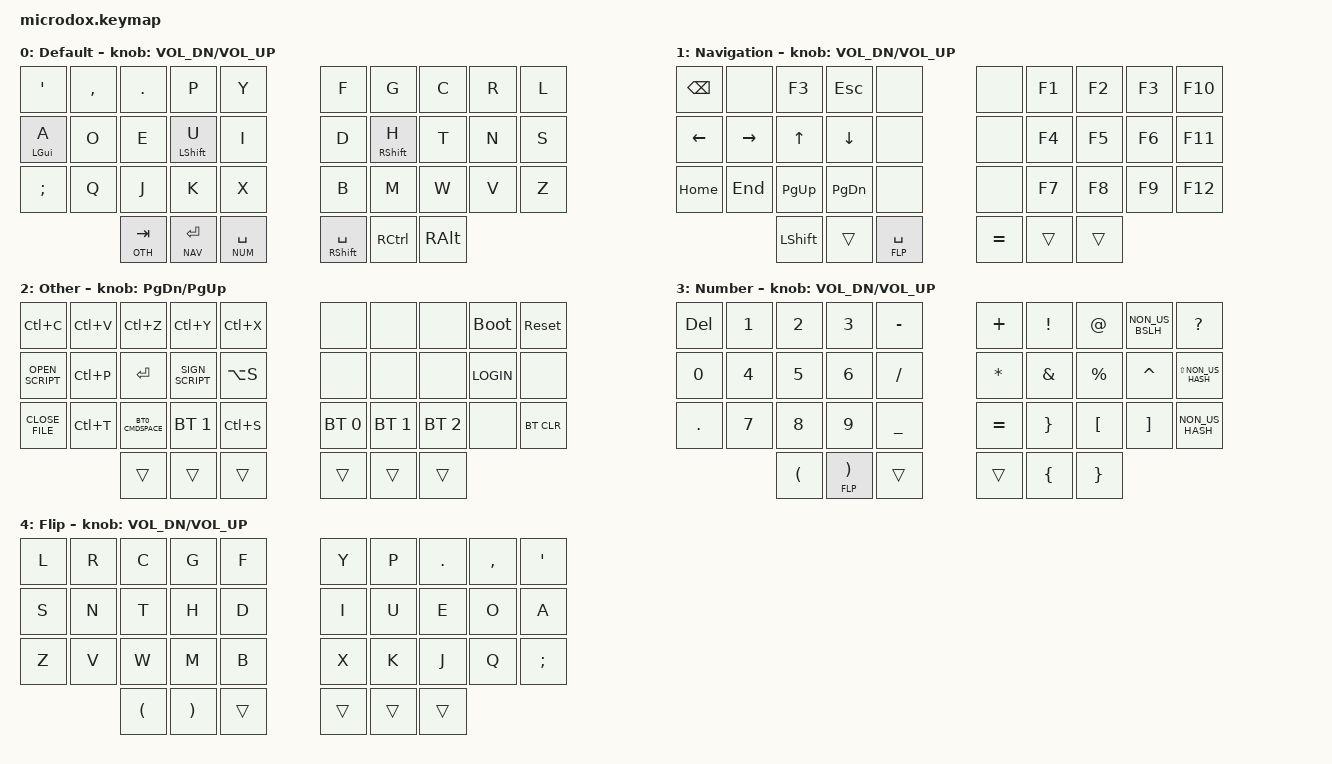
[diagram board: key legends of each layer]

#include <behaviors.dtsi>
#include <dt-bindings/zmk/keys.h>
#include <dt-bindings/zmk/bt.h>
#include <dt-bindings/zmk/outputs.h>
#include <dt-bindings/zmk/rgb.h>


/*          35 KEY MATRIX / LAYOUT MAPPING
// | 0  | 1  | 2  | 3  | 4  |       | 5  | 6  | 7  | 8  | 9 |
// | 10 | 11 | 12 | 13 | 14 |       | 15 | 16 | 17 | 18 | 19 |
// | 20 | 21 | 22 | 23 | 24 |       | 25 | 26 | 27 | 28 | 29 |
//            | 30 | 31 | 32 |     | 33 | 34 | 35 |
*/

#define KEYS_L 0 1 2 3 4 10 11 12 13 14 20 21 22 23 24  // left-hand keys
#define KEYS_R 5 6 7 8 9 15 16 17 18 19 25 26 27 28 29  // right-hand keys
#define THUMBS 30 31 32 33 34 35                        // thumb keys

#define DEFAULT 0
#define NAV     1
#define OTH     2
#define NUM     3
#define FLP     4

#define TAPPING_TERM 225  //   29/06/2024 increased from 150 to 225
#define TAPPING_TERM_SHIFT 150  //   reduced from 200 to 150 on 18/02/2024  
#define QUICK_TAP    100

#define COMBO(NAME, BINDINGS, KEYPOS, LAYERS) \
  combo_##NAME { \
    timeout-ms = <25>; \
    bindings = <BINDINGS>; \
    key-positions = <KEYPOS>; \
    layers = <LAYERS>; \
  };

  &caps_word {
    continue-list = <UNDERSCORE MINUS SPACE SINGLE_QUOTE DOUBLE_QUOTES EXCLAMATION QUESTION BACKSPACE EQUAL>;
};

&lt {
	flavor = "hold-preferred";
	tapping-term-ms = <TAPPING_TERM>;
};

&mt {
	flavor = "tap-preferred";
	tapping-term-ms = <TAPPING_TERM>;
};



/ {

    combos {
                compatible = "zmk,combos";

                /* Additional Nav */  
                COMBO(flip, &mo 4, 31 32, DEFAULT)               
        };
};

/ {
    macros {
      ZMK_MACRO(OPEN_SCRIPT,
        wait-ms = <200>;
        tap-ms = <40>;
        bindings 
                = <&macro_press &kp LALT>
                , <&macro_tap &kp F2>
                , <&macro_release &kp LALT>
                ;
                )	
      ZMK_MACRO(SIGN_SCRIPT,
        wait-ms = <0>;
        tap-ms = <0>;
        bindings 
                = <&macro_tap &kp PG_DN &kp PG_DN &kp PG_DN &kp PG_DN &kp PG_DN &kp PG_DN &kp UP &kp UP &kp UP &kp UP &kp UP &kp UP &kp UP>
                ;
                )
      ZMK_MACRO(LOGIN,
        wait-ms = <10>;
        tap-ms = <10>;
        bindings 
                = <&macro_tap &kp EXCL>
                , <&macro_press &kp LSHFT> 
                , <&macro_tap &kp S>
                , <&macro_release &kp LSHFT>
                , <&macro_tap &kp A &kp M &kp S &kp U &kp N &kp G &kp N0 &kp N1>
                ;
                )
      ZMK_MACRO(CLOSE_FILE,
        wait-ms = <30>;
        tap-ms = <40>;
        bindings 
                = <&macro_press &kp LCTRL>
                , <&macro_tap &kp F4>
                , <&macro_release &kp LCTRL>	
                , <&macro_tap &kp ENTER>
                ;
                )
ZMK_MACRO(BT0_CMDSPACE,
    wait-ms = <100>;
    tap-ms = <100>;
    bindings
        = <&bt BT_SEL 0>
        , <&macro_tap &kp F18>
        , <&macro_tap &kp F18>
        , <&macro_tap &kp N1 &kp N1 &kp N5 &kp N5>
        , <&macro_press &kp LGUI>
        , <&macro_tap &kp SPACE>
        , <&macro_release &kp LGUI>
        ;
)
       };
};

/ {

    behaviors {
        hm: homerow_mods {
            compatible = "zmk,behavior-hold-tap";
            label = "LAYER_MODS";
            #binding-cells = <2>;
            tapping-term-ms = <TAPPING_TERM>;
            quick_tap_ms = <0>;
            flavor = "tap-preferred";
            require-prior-idle-ms = <125>;
            bindings = <&kp>, <&kp>;
        };

        hml: homerow_mods_left {
            compatible = "zmk,behavior-hold-tap";
            label = "HOMEROW_MODS_LEFT";
            #binding-cells = <2>;
            tapping-term-ms = <TAPPING_TERM>;
            quick_tap_ms = <0>;
            flavor = "tap-preferred";
            require-prior-idle-ms = <125>;
            bindings = <&kp>, <&kp>;
            hold-trigger-key-positions = <KEYS_R THUMBS>;
            hold-trigger-on-release;             // delay positional check until key-release
        };

         hmr: homerow_mods_right {
            compatible = "zmk,behavior-hold-tap";
            label = "HOMEROW_MODS_RIGHT";
            #binding-cells = <2>;
            tapping-term-ms = <TAPPING_TERM>;
            quick_tap_ms = <0>;
            flavor = "tap-preferred";
            require-prior-idle-ms = <125>;
            bindings = <&kp>, <&kp>;
            hold-trigger-key-positions = <KEYS_L THUMBS>;
            hold-trigger-on-release;             // delay positional check until key-release
        };

        hs: homerow_shift {
            compatible = "zmk,behavior-hold-tap";
            label = "HOMEROW_SHIFT";
            #binding-cells = <2>;
            tapping-term-ms = <TAPPING_TERM_SHIFT>;
            quick_tap_ms = <0>;
            flavor = "tap-preferred";
	    require-prior-idle-ms = <40>;
            bindings = <&kp>, <&kp>;
        };
    };

   

    keymap {
        compatible = "zmk,keymap";

        default_layer {
            label = "Default";

            sensor-bindings = <&inc_dec_kp C_VOL_DN C_VOL_UP>;

            bindings = <
//╭────────────┬─────────────┬─────────────┬─────────────┬──────────╮       ╭────────────┬─────────────┬─────────────┬─────────────┬──────────╮
    &kp APOS     &kp COMMA     &kp DOT       &kp P         &kp Y              &kp F        &kp G         &kp C         &kp R        &kp L
//├────────────┼─────────────┼─────────────┼─────────────┼──────────┤       ├────────────┼─────────────┼─────────────┼─────────────┼──────────┤
    &hml LGUI A   &kp O          &kp E        &hs LSHFT U  &kp I              &kp D       &hs RSHFT H    &kp T         &kp N        &kp S
//├────────────┼─────────────┼─────────────┼─────────────┼──────────┤       ├────────────┼─────────────┼─────────────┼─────────────┼──────────┤
    &kp SEMI      &kp Q          &kp J        &kp K        &kp X              &kp B       &kp M          &kp W         &kp V        &kp Z
//╰────────────┴─────────────┼─────────────┼─────────────┼──────────╯       ╰────────────┼─────────────┼─────────────┼─────────────┼──────────╯
                 &lt OTH TAB  &lt NAV ENTER       &lt NUM SPACE                   &hs RSHFT SPACE         &kp RCTRL    &kp RALT
 //            ╰─────────────┴─────────────┴────────────────────────╯       ╰──────────────────────────┴─────────────┴─────────────╯
            >;
        };

        nav_layer {
            label = "Navigation";

            sensor-bindings = <&inc_dec_kp C_VOL_DN C_VOL_UP>;

            bindings = <
//╭────────────┬─────────────┬─────────────┬─────────────┬──────────╮       ╭────────────┬─────────────┬─────────────┬─────────────┬──────────╮
    &kp BSPC    &none         &kp F3        &kp ESC       &none                &none      &kp F1        &kp F2        &kp F3        &kp F10
//├────────────┼─────────────┼─────────────┼─────────────┼──────────┤       ├────────────┼─────────────┼─────────────┼─────────────┼──────────┤
    &kp LEFT    &kp RIGHT     &kp UP        &kp DOWN      &none                &none      &kp F4        &kp F5        &kp F6        &kp F11
//├────────────┼─────────────┼─────────────┼─────────────┼──────────┤       ├────────────┼─────────────┼─────────────┼─────────────┼──────────┤
    &kp HOME    &kp END       &kp PG_UP     &kp PG_DN     &none                &none      &kp F7        &kp F8        &kp F9        &kp F12
//╰────────────┴─────────────┼─────────────┼─────────────┼──────────╯       ╰────────────┼─────────────┼─────────────┼─────────────┼──────────╯
                 &kp LSHFT    &trans        &lt FLP SPACE                      &kp EQUAL                &trans        &trans
 //            ╰─────────────┴─────────────┴────────────────────────╯       ╰──────────────────────────┴─────────────┴─────────────╯
               >;
        };

        oth_layer {
            label = "Other";

            sensor-bindings = <&inc_dec_kp PG_DN PG_UP>;

            bindings = <
//╭────────────┬─────────────┬─────────────┬─────────────┬──────────╮       ╭────────────┬─────────────┬─────────────┬─────────────┬──────────╮
    &kp LC(C)      &kp LC(V)    &kp LC(Z)    &kp LC(Y)     &kp LC(X)          &none       &none         &none          &bootloader   &sys_reset 
//├────────────┼─────────────┼─────────────┼─────────────┼──────────┤       ├────────────┼─────────────┼─────────────┼─────────────┼──────────┤
    &OPEN_SCRIPT   &kp LC(P)    &kp ENTER    &SIGN_SCRIPT  &kp LA(S)          &none       &none         &none          &LOGIN        &none 
//├────────────┼─────────────┼─────────────┼─────────────┼──────────┤       ├────────────┼─────────────┼─────────────┼─────────────┼──────────┤
    &CLOSE_FILE    &kp LC(T)  &BT0_CMDSPACE  &bt BT_SEL 1  &kp LC(S)          &bt BT_SEL 0  &bt BT_SEL 1  &bt BT_SEL 2     &none     &bt BT_CLR
//╰────────────┴─────────────┼─────────────┼─────────────┼──────────╯       ╰────────────┼─────────────┼─────────────┼─────────────┼──────────╯
                 &trans        &trans        &trans                            &trans                    &trans       &trans
 //            ╰─────────────┴─────────────┴────────────────────────╯       ╰──────────────────────────┴─────────────┴─────────────╯
                >; 
        };

        number_layer {
            label = "Number";

            sensor-bindings = <&inc_dec_kp C_VOL_DN C_VOL_UP>;

            bindings = <
//╭────────────┬─────────────┬─────────────┬─────────────┬──────────╮       ╭────────────┬─────────────┬─────────────┬─────────────┬──────────╮
    &kp DEL      &kp N1        &kp N2        &kp N3       &kp MINUS           &kp PLUS    &kp EXCL      &kp AT_SIGN   &kp NON_US_BSLH  &kp QMARK 
//├────────────┼─────────────┼─────────────┼─────────────┼──────────┤       ├────────────┼─────────────┼─────────────┼─────────────┼──────────┤
    &kp N0       &kp N4        &kp N5        &kp N6       &kp SLASH           &kp STAR    &kp AMPS      &kp PRCNT     &kp CARET        &kp LS(NON_US_HASH) 
//├────────────┼─────────────┼─────────────┼─────────────┼──────────┤       ├────────────┼─────────────┼─────────────┼─────────────┼──────────┤
    &kp DOT      &kp N7        &kp N8        &kp N9       &kp UNDER           &kp EQUAL   &kp RBRC      &kp LBKT      &kp RBKT         &kp NON_US_HASH 
//╰────────────┴─────────────┼─────────────┼─────────────┼──────────╯       ╰────────────┼─────────────┼─────────────┼─────────────┼──────────╯
                 &kp LPAR       &lt FLP RPAR   &trans                            &trans                    &kp LBRC     &kp RBRC
 //            ╰─────────────┴─────────────┴────────────────────────╯       ╰──────────────────────────┴─────────────┴─────────────╯
            >;
        };

        flip_layer {
            label = "Flip";

            sensor-bindings = <&inc_dec_kp C_VOL_DN C_VOL_UP>;

            bindings = <
//╭────────────┬─────────────┬─────────────┬─────────────┬──────────╮       ╭────────────┬─────────────┬─────────────┬─────────────┬──────────╮
    &kp L          &kp R         &kp C           &kp G        &kp F         &kp Y          &kp P         &kp DOT        &kp COMMA    &kp APOS
//├────────────┼─────────────┼─────────────┼─────────────┼──────────┤       ├────────────┼─────────────┼─────────────┼─────────────┼──────────┤
    &kp S          &kp N         &kp T           &kp H        &kp D         &kp I          &kp U         &kp E          &kp O       &kp A
//├────────────┼─────────────┼─────────────┼─────────────┼──────────┤       ├────────────┼─────────────┼─────────────┼─────────────┼──────────┤
    &kp Z          &kp V         &kp W           &kp M        &kp B         &kp X          &kp K         &kp J          &kp Q       &kp SEMI
//╰────────────┴─────────────┼─────────────┼─────────────┼──────────╯       ╰────────────┼─────────────┼─────────────┼─────────────┼──────────╯
                 &kp LPAR       &kp RPAR        &trans                            &trans                    &trans     &trans
 //            ╰─────────────┴─────────────┴────────────────────────╯       ╰──────────────────────────┴─────────────┴─────────────╯
            >;
        };
    };
};
